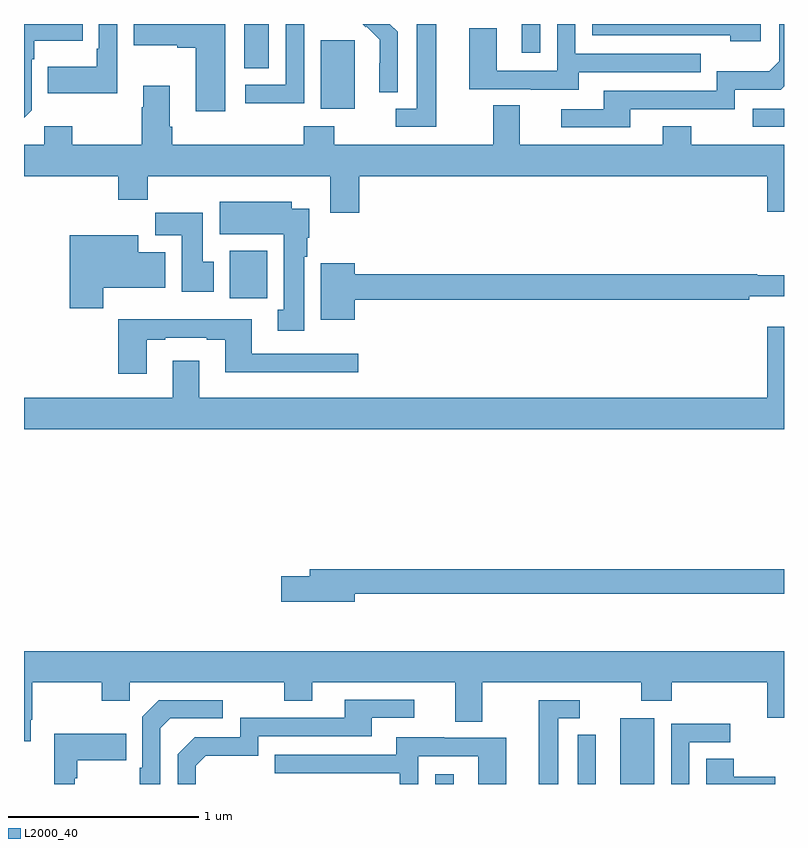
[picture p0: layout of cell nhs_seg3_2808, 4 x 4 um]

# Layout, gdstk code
import gdstk
lib = gdstk.Library(unit=1e-6, precision=1e-09)
def R(c, l, rs):  # rectangles x0, y0, x1, y1
    for r in rs: c.add(gdstk.rectangle(r[:2], r[2:], *l))
def P(c, l, *ps):  # polygons
    for p in ps: c.add(gdstk.Polygon(p, *l))
L2000_40 = (2000, 40)

nhs_seg3_2808 = lib.new_cell('nhs_seg3_2808')
R(nhs_seg3_2808, L2000_40, [(259.164,680.4,259.261,680.452), (260.138,680.4,260.317,680.746), (258.083,682.956,258.279,683.206), (260.835,683.859,261,683.955), (258.563,683.954,258.742,684.315), (258.158,684.166,258.289,684.4), (259.619,684.249,259.716,684.4)])
P(nhs_seg3_2808, L2000_40, [(258.474,684.4),(258.378,684.4),(258.378,684.081),(258.165,684.081),(258.165,683.983),(258.474,683.983)],
  [(257.04,683.946),(257.04,684.215),(257.053,684.215),(257.053,684.311),(257.309,684.311),(257.309,684.4),(257,684.4),(257,683.906)],
  [(258.058,684.4),(257.577,684.4),(257.577,684.287),(257.807,684.287),(257.807,684.275),(257.903,684.275),(257.903,683.94),(258.058,683.94)],
  [(257.49,684.4),(257.394,684.4),(257.394,684.271),(257.382,684.271),(257.382,684.175),(257.125,684.175),(257.125,684.035),(257.49,684.035)],
  [(260.191,683.952),(260.742,683.952),(260.742,684.054),(260.982,684.054),(261,684.072),(261,684.4),(260.976,684.4),(260.976,684.204),(260.923,684.151),(260.646,684.151),(260.646,684.048),(260.051,684.048),(260.051,683.952),(259.827,683.952),(259.827,683.856),(260.191,683.856)],
  [(258.966,684.358),(258.924,684.4),(258.782,684.4),(258.798,684.384),(258.801,684.387),(258.872,684.317),(258.872,684.194),(258.87,684.194),(258.87,684.04),(258.966,684.04)],
  [(260.878,684.4),(259.992,684.4),(259.992,684.342),(260.717,684.342),(260.717,684.308),(260.878,684.308)],
  [(259.171,684.4),(259.067,684.4),(259.067,683.955),(258.957,683.955),(258.957,683.859),(259.171,683.859)],
  [(259.921,684.147),(260.561,684.147),(260.561,684.243),(259.902,684.243),(259.902,684.4),(259.806,684.4),(259.806,684.153),(259.488,684.153),(259.488,684.377),(259.343,684.377),(259.343,684.057),(259.667,684.057),(259.667,684.053),(259.921,684.053)],
  [(257.106,683.863),(257.106,683.764),(257,683.764),(257,683.6),(257.495,683.6),(257.495,683.476),(257.651,683.476),(257.651,683.6),(258.611,683.6),(258.611,683.406),(258.764,683.406),(258.764,683.6),(260.912,683.6),(260.912,683.412),(261,683.412),(261,683.764),(260.511,683.764),(260.511,683.863),(260.363,683.863),(260.363,683.764),(259.609,683.764),(259.609,683.972),(259.469,683.972),(259.469,683.764),(258.633,683.764),(258.633,683.863),(258.473,683.863),(258.473,683.764),(257.779,683.764),(257.779,683.86),(257.767,683.86),(257.767,684.076),(257.627,684.076),(257.627,683.963),(257.62,683.963),(257.62,683.764),(257.253,683.764),(257.253,683.863)],
  [(258.475,683.174),(258.49,683.174),(258.49,683.274),(258.502,683.274),(258.502,683.428),(258.409,683.428),(258.409,683.464),(258.029,683.464),(258.029,683.294),(258.368,683.294),(258.368,682.897),(258.335,682.897),(258.335,682.785),(258.475,682.785)],
  [(257.998,683.148),(257.941,683.148),(257.941,683.406),(257.692,683.406),(257.692,683.288),(257.831,683.288),(257.831,682.992),(257.998,682.992)],
  [(257.418,683.012),(257.743,683.012),(257.743,683.2),(257.602,683.2),(257.602,683.287),(257.24,683.287),(257.24,682.905),(257.418,682.905)],
  [(258.742,682.948),(260.816,682.948),(260.816,682.967),(261,682.967),(261,683.077),(260.86,683.077),(260.86,683.084),(258.742,683.084),(258.742,683.14),(258.563,683.14),(258.563,682.844),(258.742,682.844)],
  [(257.647,682.737),(257.743,682.737),(257.743,682.749),(257.963,682.749),(257.963,682.737),(258.059,682.737),(258.059,682.568),(258.76,682.568),(258.76,682.665),(258.199,682.665),(258.199,682.846),(257.495,682.846),(257.495,682.56),(257.647,682.56)],
  [(261,682.807),(260.912,682.807),(260.912,682.432),(257.923,682.432),(257.923,682.627),(257.783,682.627),(257.783,682.432),(257,682.432),(257,682.268),(261,682.268)],
  [(258.742,681.402),(261,681.402),(261,681.53),(258.503,681.53),(258.503,681.494),(258.354,681.494),(258.354,681.359),(258.742,681.359)],
  [(257.035,680.737),(257.043,680.737),(257.043,680.936),(257.41,680.936),(257.41,680.837),(257.556,680.837),(257.556,680.936),(258.37,680.936),(258.37,680.837),(258.517,680.837),(258.517,680.936),(259.271,680.936),(259.271,680.728),(259.411,680.728),(259.411,680.936),(260.248,680.936),(260.248,680.837),(260.408,680.837),(260.408,680.936),(260.912,680.936),(260.912,680.748),(261,680.748),(261,681.1),(257,681.1),(257,680.625),(257.035,680.625)],
  [(257.904,680.496),(257.957,680.549),(258.234,680.549),(258.234,680.652),(258.829,680.652),(258.829,680.748),(259.054,680.748),(259.054,680.844),(258.689,680.844),(258.689,680.748),(258.138,680.748),(258.138,680.646),(257.898,680.646),(257.808,680.556),(257.808,680.4),(257.904,680.4)],
  [(257.718,680.694),(257.769,680.745),(258.046,680.745),(258.046,680.841),(257.709,680.841),(257.622,680.754),(257.622,680.485),(257.61,680.485),(257.61,680.4),(257.718,680.4)],
  [(259.813,680.745),(259.924,680.745),(259.924,680.841),(259.709,680.841),(259.709,680.4),(259.813,680.4)],
  [(260.502,680.619),(260.716,680.619),(260.716,680.718),(260.406,680.718),(260.406,680.4),(260.502,680.4)],
  [(257.268,680.429),(257.281,680.429),(257.281,680.525),(257.537,680.525),(257.537,680.665),(257.16,680.665),(257.16,680.4),(257.268,680.4)],
  [(260.009,680.506),(260.01,680.506),(260.01,680.66),(259.914,680.66),(259.914,680.4),(260.009,680.4)],
  [(259.074,680.547),(259.392,680.547),(259.392,680.4),(259.537,680.4),(259.537,680.643),(259.213,680.643),(259.213,680.647),(258.959,680.647),(258.959,680.553),(258.319,680.553),(258.319,680.457),(258.978,680.457),(258.978,680.4),(259.074,680.4)],
  [(260.953,680.439),(260.735,680.439),(260.735,680.534),(260.591,680.534),(260.591,680.4),(260.953,680.4)])

lib.write_gds('nhs_seg3_2808.gds')
